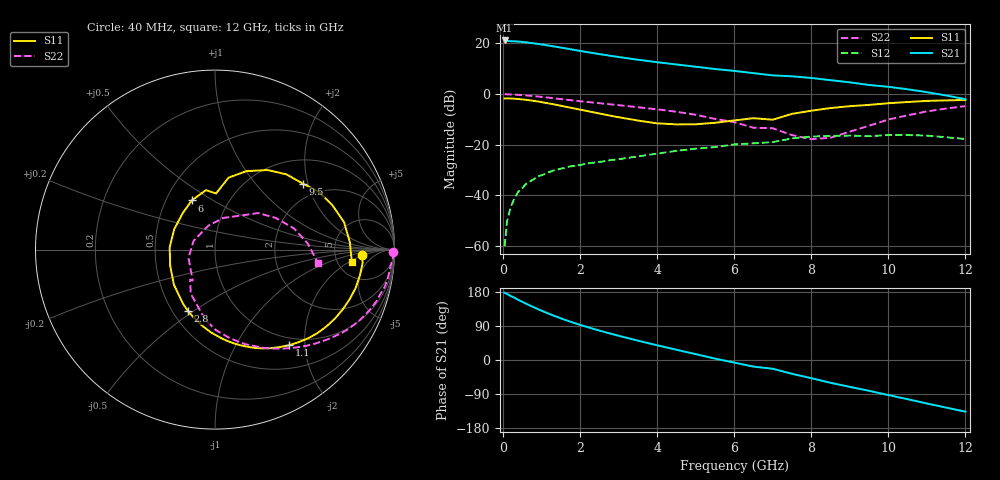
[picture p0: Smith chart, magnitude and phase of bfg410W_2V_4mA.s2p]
! Filename: 24bfg410.001
! BFG410W Field B1
! V1=8.519E-001V,V2=2.000E+000V, I1=5.851E-005A, I2=4.000E-003A
# GHz  S  MA  R 50
!  S11  S21  S12  S22
!Freq(GHz)  Mag  Ang  Mag  Ang  Mag  Ang  Mag  Ang
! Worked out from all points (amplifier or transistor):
!   44 points, 40 MHz to 12 GHz, reference 50 ohm
!   highest |S21| = 21.2 dB at 40 MHz (marker M1)
!   |S21| within 3 dB of that: start of sweep to 1.571 GHz
!   unconditionally stable (mu >= 1): 2.764 GHz to end of sweep
!   at 700 MHz: K = 0.29, MSG = 27.3 dB, |S12| = -34.4 dB
!   at 2.4 GHz: K = 0.89, MSG = 21.5 dB, |S12| = -26.9 dB
!   at 12 GHz: K = 1.62, MAG = 3.2 dB, |S12| = -17.7 dB
!   S11 on the Smith chart (normalised r, x): 40 MHz: 9.67, -1.90; 1.1 GHz: 0.87, -1.69; 2.8 GHz: 0.60, -0.48; 6 GHz: 0.67, +0.41; 9.5 GHz: 1.59, +1.87; 12 GHz: 6.74, -2.30
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0.04  0.819 -2.3  11.45 177.3  0.001 70.6  0.993 -0.8
0.1  0.826 -5.1  11.24 174.5  0.003 88.0  0.992 -2.7
0.2  0.82 -10.1  11.06 168.8  0.006 82.8  0.98 -6.3
0.4  0.8 -20.1  10.88 158.4  0.012 77.0  0.968 -12.4
0.6  0.771 -29.8  10.51 148.6  0.017 71.1  0.944 -17.9
0.9  0.716 -43.7  9.808 134.4  0.024 63.1  0.898 -26.0
1.1  0.674 -52.3  9.293 125.8  0.027 58.7  0.865 -30.6
1.3  0.632 -60.4  8.77 117.6  0.031 54.9  0.83 -35.1
1.6  0.568 -72.0  8.039 106.3  0.035 50.2  0.782 -41.0
1.9  0.512 -82.6  7.34 96.0  0.039 46.4  0.739 -46.5
2.2  0.461 -93.0  6.717 86.5  0.043 43.4  0.699 -51.6
2.8  0.374 -113.6  5.683 69.2  0.05 38.5  0.627 -61.3
3.5  0.301 -139.6  4.776 51.1  0.059 33.2  0.552 -72.5
4.5  0.253 176.9  3.842 27.1  0.076 23.6  0.449 -89.3
5.5  0.272 131.1  3.128 3.7  0.09 10.1  0.325 -107.8
6  0.303 115.3  2.874 -6.8  0.102 4.6  0.28 -118.9
6.5  0.335 98.7  2.593 -17.5  0.107 -2.1  0.217 -129.6
7.5  0.408 79.3  2.246 -36.5  0.134 -11.4  0.155 -162.4
8.5  0.531 56.6  1.886 -60.2  0.15 -34.3  0.138 106.0
9.5  0.613 36.7  1.515 -81.3  0.148 -54.0  0.238 52.8
10.5  0.699 20.8  1.245 -103.5  0.156 -74.4  0.382 27.5
12  0.766 -5.3  0.796 -136.4  0.13 -112.8  0.58 -7.6
